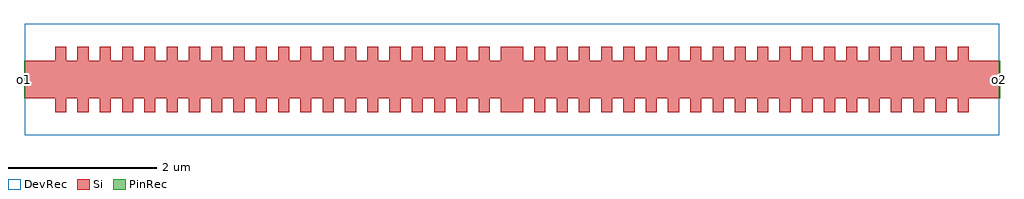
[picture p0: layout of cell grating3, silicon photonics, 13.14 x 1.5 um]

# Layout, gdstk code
import gdstk
lib = gdstk.Library(unit=1e-6, precision=1e-09)
def R(c, l, rs):  # rectangles x0, y0, x1, y1
    for r in rs: c.add(gdstk.rectangle(r[:2], r[2:], *l))
def A(c, l, x, y, w, h, nx, ny, dx, dy):  # array of equal rectangles
    R(c, l, [(x+i*dx, y+j*dy, x+i*dx+w, y+j*dy+h) for i in range(nx) for j in range(ny)])
Si = (1, 0)
PinRec = (1, 10)
DevRec = (68, 0)

grating3 = lib.new_cell('grating3')
A(grating3, Si, -6.15, -0.44, 0.15, 0.19, 20, 2, 0.3, 0.69)
A(grating3, Si, 0.3, -0.44, 0.15, 0.19, 20, 2, 0.3, 0.69)
R(grating3, Si, [(-0.15,-0.44,0.15,-0.25), (-6.56,-0.25,6.56,0.25), (-0.15,0.25,0.15,0.44)])
R(grating3, DevRec, [(-6.56,-0.75,6.56,0.75)])
grating3.add(gdstk.FlexPath([(-6.55,0),(-6.57,0)], 0.5, ends="flush", simple_path=True, layer=1, datatype=10))  # PinRec
grating3.add(gdstk.FlexPath([(6.55,0),(6.57,0)], 0.5, ends="flush", simple_path=True, layer=1, datatype=10))  # PinRec
grating3.add(gdstk.Label('o1', (-6.56,0), layer=1, texttype=10))
grating3.add(gdstk.Label('o2', (6.56,0), layer=1, texttype=10))

lib.write_gds('grating3.gds')
